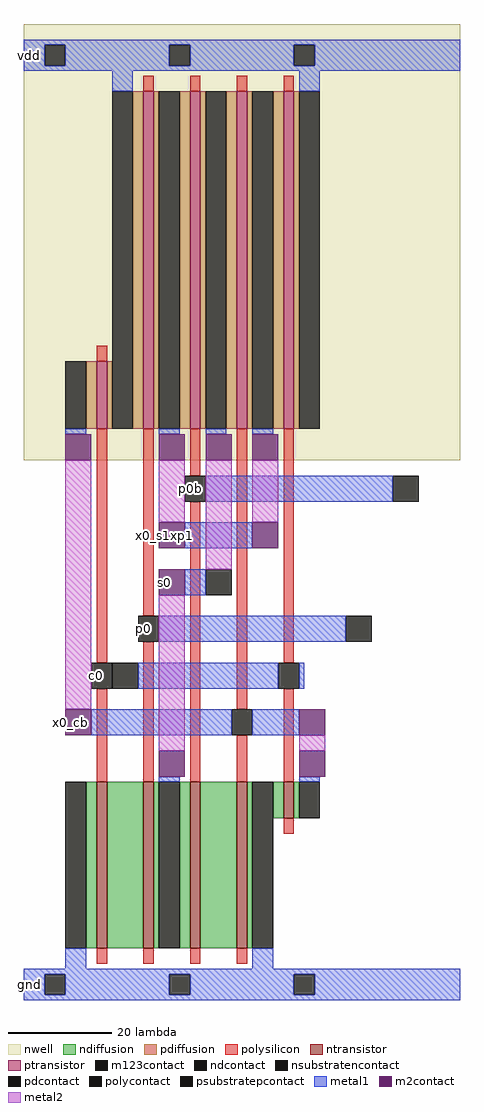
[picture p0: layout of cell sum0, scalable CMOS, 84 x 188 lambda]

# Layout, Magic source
magic
tech scmos
<< nwell >>
rect 0 104 84 188
<< ntransistor >>
rect 14 10 16 42
rect 23 10 25 42
rect 32 10 34 42
rect 41 10 43 42
rect 50 35 52 42
<< ptransistor >>
rect 14 110 16 123
rect 23 110 25 175
rect 32 110 34 175
rect 41 110 43 175
rect 50 110 52 175
<< ndiffusion >>
rect 12 10 14 42
rect 16 10 23 42
rect 25 10 26 42
rect 30 10 32 42
rect 34 10 41 42
rect 43 10 44 42
rect 48 35 50 42
rect 52 35 53 42
<< pdiffusion >>
rect 12 110 14 123
rect 16 110 17 123
rect 21 110 23 175
rect 25 110 26 175
rect 30 110 32 175
rect 34 110 35 175
rect 39 110 41 175
rect 43 110 44 175
rect 48 110 50 175
rect 52 110 53 175
<< ndcontact >>
rect 8 10 12 42
rect 26 10 30 42
rect 44 10 48 42
rect 53 35 57 42
<< pdcontact >>
rect 8 110 12 123
rect 17 110 21 175
rect 26 110 30 175
rect 35 110 39 175
rect 44 110 48 175
rect 53 110 57 175
<< psubstratepcontact >>
rect 4 1 8 5
rect 28 1 32 5
rect 52 1 56 5
<< nsubstratencontact >>
rect 4 180 8 184
rect 28 180 32 184
rect 52 180 56 184
<< polysilicon >>
rect 23 175 25 178
rect 32 175 34 178
rect 41 175 43 178
rect 50 175 52 178
rect 14 123 16 126
rect 14 65 16 110
rect 23 74 25 110
rect 32 101 34 110
rect 14 42 16 60
rect 23 42 25 69
rect 32 42 34 96
rect 41 56 43 110
rect 50 65 52 110
rect 41 42 43 51
rect 50 42 52 60
rect 50 32 52 35
rect 14 7 16 10
rect 23 7 25 10
rect 32 7 34 10
rect 41 7 43 10
<< polycontact >>
rect 31 96 35 101
rect 22 69 26 74
rect 13 60 17 65
rect 49 60 53 65
rect 40 51 44 56
<< metal1 >>
rect 0 184 84 185
rect 0 180 4 184
rect 8 180 28 184
rect 32 180 52 184
rect 56 180 84 184
rect 0 179 84 180
rect 17 175 21 179
rect 53 175 57 179
rect 8 109 12 110
rect 26 109 30 110
rect 35 109 39 110
rect 44 109 48 110
rect 35 96 71 101
rect 31 87 44 92
rect 31 78 35 83
rect 26 69 62 74
rect 22 60 49 65
rect 53 60 54 65
rect 13 51 40 56
rect 44 51 53 56
rect 26 42 30 43
rect 53 42 57 43
rect 8 6 12 10
rect 44 6 48 10
rect 0 5 84 6
rect 0 1 4 5
rect 8 1 28 5
rect 32 1 52 5
rect 56 1 84 5
rect 0 0 84 1
<< m2contact >>
rect 8 104 13 109
rect 26 104 31 109
rect 35 104 40 109
rect 44 104 49 109
rect 26 87 31 92
rect 44 87 49 92
rect 26 78 31 83
rect 8 51 13 56
rect 53 51 58 56
rect 26 43 31 48
rect 53 43 58 48
<< metal2 >>
rect 8 56 13 104
rect 26 92 31 104
rect 35 83 40 104
rect 44 92 49 104
rect 26 48 31 78
rect 53 48 58 51
<< m123contact >>
rect 71 96 76 101
rect 35 78 40 83
rect 17 60 22 65
rect 62 69 67 74
<< labels >>
rlabel metal1 13 60 15 65 0 c0
port 1 nsew
rlabel metal1 22 69 24 74 0 p0
port 2 nsew
rlabel metal1 31 96 33 101 0 p0b
port 3 nsew
rlabel m2contact 26 78 28 83 0 s0
port 4 nsew
rlabel m2contact 8 51 10 56 0 x0_cb
rlabel m2contact 26 87 28 92 0 x0_s1xp1
rlabel metal1 0 179 2 185 0 vdd
port 5 nsew
rlabel metal1 0 0 2 6 0 gnd
port 6 nsew
<< end >>
